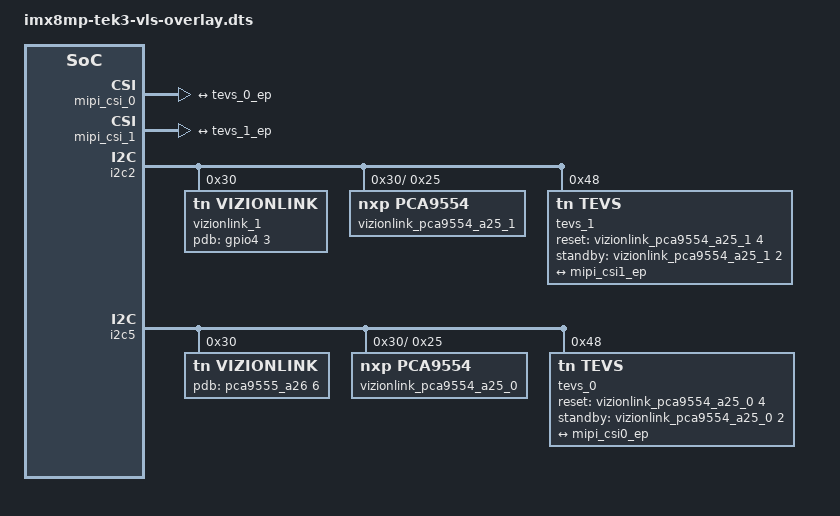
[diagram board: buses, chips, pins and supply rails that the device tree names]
// SPDX-License-Identifier: (GPL-2.0+ OR MIT)
/*
 * Copyright 2021 TechNexion Ltd.
 *
 */

/dts-v1/;
/plugin/;

#include <dt-bindings/interrupt-controller/irq.h>
#include <dt-bindings/clock/imx8mp-clock.h>
#include <dt-bindings/gpio/gpio.h>

/ {
	fragment@0 {
		target = <&mipi_csi_0>;
		__overlay__ {
			#address-cells = <1>;
			#size-cells = <0>;
			clock-frequency = <400000000>;
			status = "okay";

			port@0 {
				reg = <0>;
				mipi_csi0_ep: endpoint {
					remote-endpoint = <&tevs_0_ep>;
					data-lanes = <4>;
					csis-hs-settle = <19>;
					csis-clk-settle = <2>;
					csis-wclk;
				};
			};
		};
	};

	fragment@1 {
		target = <&mipi_csi_1>;
		__overlay__ {
			#address-cells = <1>;
			#size-cells = <0>;
			clock-frequency = <400000000>;
			status = "okay";

			port@1 {
				reg = <1>;
				mipi_csi1_ep: endpoint {
					remote-endpoint = <&tevs_1_ep>;
					data-lanes = <4>;
					csis-hs-settle = <19>;
					csis-clk-settle = <2>;
					csis-wclk;
				};
			};
		};
	};

	fragment@2 {
		target = <&i2c2>;
		__overlay__ {
			#address-cells = <1>;
			#size-cells = <0>;

			vizionlink_1: vizionlink@30 {
				compatible = "tn,vizionlink";
				reg = <0x30>;
				pinctrl-0 = <&pinctrl_csi2_pdb>;
				pdb-gpios = <&gpio4 3 GPIO_ACTIVE_HIGH>;
				ser_alias_id = <0x1b>;

				//i2c addr alias map "gpio extender, eeprom , sensor"
				i2c_addr_alias_map_local = <0x25 0x48>;
				i2c_addr_alias_map_remote = <0x25 0x48>;

				//deserializer output csi lanes 1~4. default 4
				des_csi_lanes = <4>;

				//1: Enable 0: Disable continuous clock. default 0
				des_csi_continuous_clock = <0>;

				//serializer input csi lanes 1~4. default 4
				ser_csi_lanes = <4>;

				//1: Enable 0: Disable continuous clock. default 0
				ser_csi_continuous_clock = <0>;

				status = "okay";

				i2c_dev_list {
					#address-cells = <1>;
					#size-cells = <0>;

					vizionlink_pca9554_a25_1: vizionlink_pca9554@25 {
						compatible = "nxp,pca9554";
						reg = <0x25>;
						gpio-controller;
						#gpio-cells = <2>;
						status = "okay";
					};
				};
			};

			tevs_1: tevs@48 {
				compatible = "tn,tevs";
				reg = <0x48>;
				pinctrl-names = "default";
				pinctrl-0 = <&pinctrl_csi2_dummy_host_power>;

				// host-power-gpios = <&gpio2 2 GPIO_ACTIVE_HIGH>;
				reset-gpios = <&vizionlink_pca9554_a25_1 4 GPIO_ACTIVE_HIGH>;
				standby-gpios = <&vizionlink_pca9554_a25_1 2 GPIO_ACTIVE_HIGH>;
				data-lanes = <4>;
				// data-frequency = <800>;
				continuous-clock = <0>;
				status = "okay";


				port {
					tevs_1_ep: endpoint {
						remote-endpoint = <&mipi_csi1_ep>;
					};
				};
			};
		};
	};

	fragment@3 {
		target = <&i2c5>;
		__overlay__ {
			#address-cells = <1>;
			#size-cells = <0>;

			vizionlink@30 {
				compatible = "tn,vizionlink";
				reg = <0x30>;
				pinctrl-names = "default";
				pdb-gpios = <&pca9555_a26 6 GPIO_ACTIVE_HIGH>;
				ser_alias_id = <0x1b>;

				//i2c addr alias map "gpio extender, eeprom , sensor"
				i2c_addr_alias_map_local = <0x25 0x48>;
				i2c_addr_alias_map_remote = <0x25 0x48>;

				//deserializer output csi lanes 1~4. default 4
				des_csi_lanes = <4>;

				//1: Enable 0: Disable continuous clock. default 0
				des_csi_continuous_clock = <0>;

				//serializer input csi lanes 1~4. default 4
				ser_csi_lanes = <4>;

				//1: Enable 0: Disable continuous clock. default 0
				ser_csi_continuous_clock = <0>;

				status = "okay";

				i2c_dev_list {
					#address-cells = <1>;
					#size-cells = <0>;

					vizionlink_pca9554_a25_0: vizionlink_pca9554@25 {
						compatible = "nxp,pca9554";
						reg = <0x25>;
						gpio-controller;
						#gpio-cells = <2>;
						status = "okay";
					};
				};
			};

			tevs_0: tevs@48 {
				compatible = "tn,tevs";
				reg = <0x48>;
				pinctrl-names = "default";
				pinctrl-0 = <&pinctrl_csi1_dummy_host_power>;

				// host-power-gpios = <&gpio2 20 GPIO_ACTIVE_HIGH>;
				reset-gpios = <&vizionlink_pca9554_a25_0 4 GPIO_ACTIVE_HIGH>;
				standby-gpios = <&vizionlink_pca9554_a25_0 2 GPIO_ACTIVE_HIGH>;
				data-lanes = <4>;
				// data-frequency = <800>;
				continuous-clock = <0>;
				status = "okay";


				port {
					tevs_0_ep: endpoint {
						remote-endpoint = <&mipi_csi0_ep>;
					};
				};
			};
		};
	};
};
